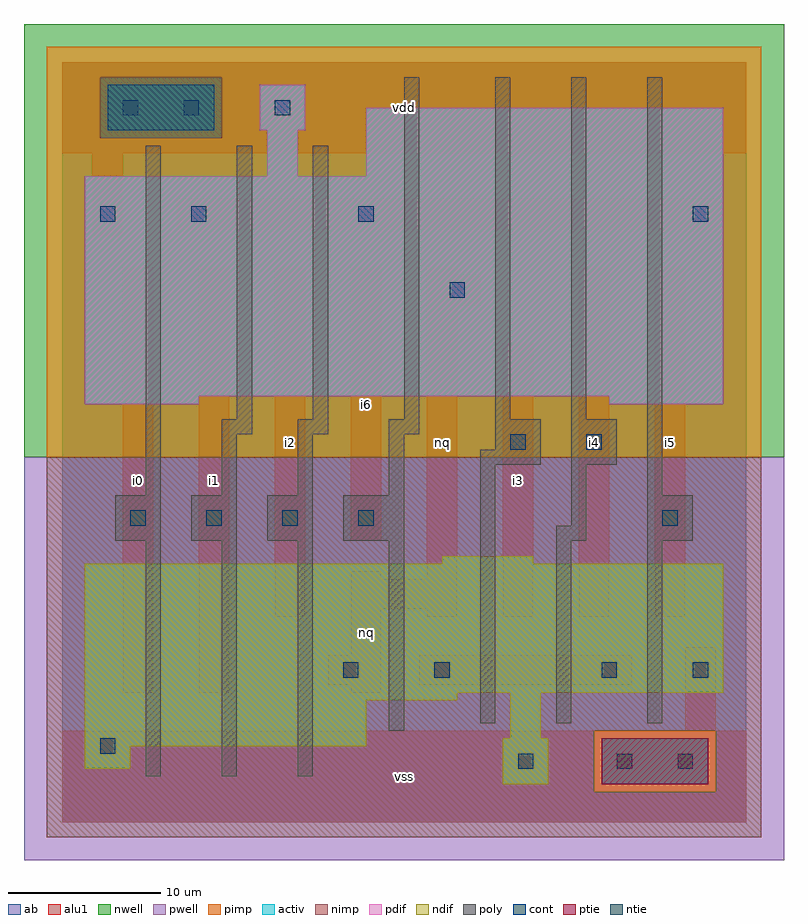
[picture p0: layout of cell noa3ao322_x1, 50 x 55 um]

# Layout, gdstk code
import gdstk
lib = gdstk.Library(unit=1e-6, precision=1e-09)
def R(c, l, rs):  # rectangles x0, y0, x1, y1
    for r in rs: c.add(gdstk.rectangle(r[:2], r[2:], *l))
def A(c, l, x, y, w, h, nx, ny, dx, dy):  # array of equal rectangles
    R(c, l, [(x+i*dx, y+j*dy, x+i*dx+w, y+j*dy+h) for i in range(nx) for j in range(ny)])
ndif = (3, 0)
pdif = (4, 0)
ntie = (5, 0)
ptie = (6, 0)
cont = (25, 0)
pwell = (41, 0)
nwell = (42, 0)
activ = (43, 0)
pimp = (44, 0)
nimp = (45, 0)
poly = (46, 0)
alu1 = (49, 0)
ab = (63, 0)

noa3ao322_x1 = lib.new_cell('noa3ao322_x1')
R(noa3ao322_x1, ndif, [(29,2.5,32,5.5), (1.5,3.5,4.5,5), (1.5,5,20,8), (29.5,5.5,31.5,8.5), (1.5,8,26,8.5), (1.5,8.5,43.5,17), (25,17,31,17.5)])
R(noa3ao322_x1, pdif, [(1.5,27.5,9,28), (36,27.5,43.5,28), (1.5,28,43.5,42.5), (13.5,42.5,15.5,45.5), (20,42.5,43.5,47), (13,45.5,16,48.5)])
R(noa3ao322_x1, ntie, [(3,45.5,10,48.5)])
R(noa3ao322_x1, ptie, [(35.5,2.5,42.5,5.5)])
A(noa3ao322_x1, cont, 4.5, 19.5, 1, 1, 4, 1, 5, 0)
R(noa3ao322_x1, cont, [(30,3.5,31,4.5), (36.5,3.5,37.5,4.5), (40.5,3.5,41.5,4.5), (2.5,4.5,3.5,5.5), (18.5,9.5,19.5,10.5), (24.5,9.5,25.5,10.5), (35.5,9.5,36.5,10.5), (41.5,9.5,42.5,10.5), (39.5,19.5,40.5,20.5), (29.5,24.5,30.5,25.5), (34.5,24.5,35.5,25.5), (25.5,34.5,26.5,35.5), (2.5,39.5,3.5,40.5), (8.5,39.5,9.5,40.5), (19.5,39.5,20.5,40.5), (41.5,39.5,42.5,40.5), (4,46.5,5,47.5), (8,46.5,9,47.5), (14,46.5,15,47.5)])
R(noa3ao322_x1, pwell, [(-2.5,-2.5,47.5,24)])
R(noa3ao322_x1, nwell, [(-2.5,24,47.5,52.5)])
R(noa3ao322_x1, activ, [(29,2.5,32,5.5), (35.5,2.5,42.5,5.5), (1.5,3.5,4.5,5), (1.5,5,20,8), (29.5,5.5,31.5,8.5), (1.5,8,26,8.5), (1.5,8.5,43.5,17), (25,17,31,17.5), (1.5,27.5,9,28), (36,27.5,43.5,28), (1.5,28,43.5,42.5), (13.5,42.5,15.5,45.5), (20,42.5,43.5,47), (3,45.5,10,48.5), (13,45.5,16,48.5)])
R(noa3ao322_x1, pimp, [(35,2,43,6), (-1,24,46,45), (-1,45,2.5,49), (10.5,45,46,49), (-1,49,46,51)])
R(noa3ao322_x1, nimp, [(-1,-1,46,2), (-1,2,35,6), (43,2,46,6), (-1,6,46,24), (2.5,45,10.5,49)])
A(noa3ao322_x1, poly, 5.5, 3, 1, 15.5, 3, 1, 5, 0)
A(noa3ao322_x1, poly, 3.5, 18.5, 3, 3, 3, 1, 5, 0)
R(noa3ao322_x1, poly, [(21.5,6,22.5,18.5), (27.5,6.5,28.5,23.5), (32.5,6.5,33.5,18.5), (38.5,6.5,39.5,18.5), (18.5,18.5,22.5,21.5), (32.5,18.5,34.5,19.5), (38.5,18.5,41.5,21.5), (33.5,19.5,34.5,23.5), (5.5,21.5,6.5,44.5), (10.5,21.5,11.5,25.5), (15.5,21.5,16.5,25.5), (21.5,21.5,22.5,25.5), (38.5,21.5,39.5,49), (27.5,23.5,31.5,24.5), (33.5,23.5,36.5,26.5), (28.5,24.5,31.5,26.5), (10.5,25.5,12.5,26.5), (15.5,25.5,17.5,26.5), (21.5,25.5,23.5,26.5), (11.5,26.5,12.5,44.5), (16.5,26.5,17.5,44.5), (22.5,26.5,23.5,49), (28.5,26.5,29.5,49), (33.5,26.5,34.5,49)])
R(noa3ao322_x1, alu1, [(0,0,45,6), (0,0,45,6), (41,6,43,11.5), (41,6,43,11.5), (4,8.5,6,36.5), (4,8.5,6,36.5), (9,8.5,11,36.5), (9,8.5,11,36.5), (19,8.5,21,9), (19,8.5,21,9), (17.5,9,21,11), (17.5,9,21,11), (23.5,9,37.5,11), (23.5,9,37.5,11), (19,11,21,14), (19,11,21,14), (14,13.5,16,36.5), (14,13.5,16,36.5), (24,13.5,26,14), (24,13.5,26,14), (29,13.5,31,31.5), (29,13.5,31,31.5), (34,13.5,36,36.5), (34,13.5,36,36.5), (39,13.5,41,36.5), (39,13.5,41,36.5), (19,14,26,16), (19,14,26,16), (19,16,21,16.5), (19,16,21,16.5), (24,16,26,34), (24,16,26,34), (19,18.5,21,36.5), (19,18.5,21,36.5), (24,34,27.5,36), (24,34,27.5,36), (24,36,26,36.5), (24,36,26,36.5), (2,38.5,4,44), (2,38.5,4,44), (7.5,39,43.5,41), (7.5,39,43.5,41), (0,44,45,50), (0,44,45,50)])
R(noa3ao322_x1, ab, [(0,0,45,50)])
noa3ao322_x1.add(gdstk.Label('i0', (5,22.5), layer=49, texttype=0))
noa3ao322_x1.add(gdstk.Label('nq', (20,12.5), layer=49, texttype=0))
noa3ao322_x1.add(gdstk.Label('i1', (10,22.5), layer=49, texttype=0))
noa3ao322_x1.add(gdstk.Label('i2', (15,25), layer=49, texttype=0))
noa3ao322_x1.add(gdstk.Label('i6', (20,27.5), layer=49, texttype=0))
noa3ao322_x1.add(gdstk.Label('vss', (22.5,3), layer=49, texttype=0))
noa3ao322_x1.add(gdstk.Label('i3', (30,22.5), layer=49, texttype=0))
noa3ao322_x1.add(gdstk.Label('nq', (25,25), layer=49, texttype=0))
noa3ao322_x1.add(gdstk.Label('vdd', (22.5,47), layer=49, texttype=0))
noa3ao322_x1.add(gdstk.Label('i5', (40,25), layer=49, texttype=0))
noa3ao322_x1.add(gdstk.Label('i4', (35,25), layer=49, texttype=0))

lib.write_gds('noa3ao322_x1.gds')
